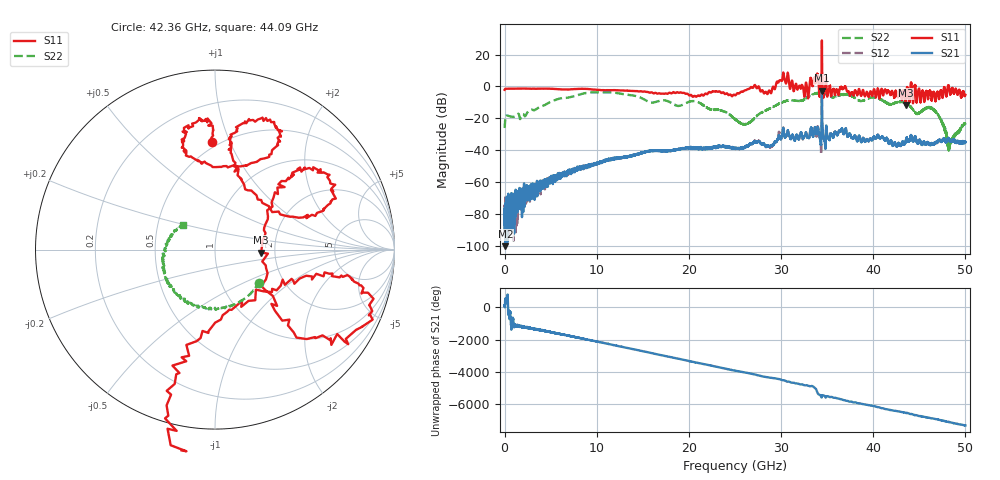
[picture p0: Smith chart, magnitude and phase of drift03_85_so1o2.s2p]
!Created with skrf (http://scikit-rf.org).
# Hz S RI R 50.0
!freq ReS11 ImS11 ReS21 ImS21 ReS12 ImS12 ReS22 ImS22
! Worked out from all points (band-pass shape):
!   10000 points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, 5.3 MHz to 50 GHz, reference 50 ohm
!   highest |S21| = -2.63 dB at 34.43 GHz (marker M1); lowest = -100.0 dB at 100.3 MHz (marker M2)
!   |S21| within 3 dB of the highest: 34.42756 GHz to 34.43477 GHz (7.208 MHz wide, 0.0209 % of centre)
!   lowest |S11| = -11.8 dB at 43.52 GHz (marker M3), VSWR 1.69, Z = 84.6 - j2.95 ohm
!   |S11| at or under -10 dB: 43.48442 GHz to 43.54374 GHz (59.32 MHz wide, 0.136 % of centre); 44.31137 GHz to 44.31991 GHz (8.536 MHz wide, 0.0193 % of centre); 44.70859 GHz to 44.71224 GHz (3.654 MHz wide, 0.00817 % of centre) (the widest 3 of 4)
!   |S22| runs from -40.7 to -3.6 dB; largest |S21 - S12| = 0.22
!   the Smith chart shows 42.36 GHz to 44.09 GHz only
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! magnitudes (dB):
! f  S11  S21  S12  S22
! 5.3 MHz  -2.1  -80.8  -75.8  -26.0
! 100.3 MHz  -1.5  -100.0  -81.3  -18.9
! 2.995 GHz  -1.4  -63.8  -64.4  -14.5
! 8.34 GHz  -1.5  -50.8  -50.7  -4.7
! 16.67 GHz  -4.4  -40.4  -40.3  -9.2
! 20.75 GHz  -6.3  -38.5  -38.8  -9.4
! 25.01 GHz  -5.5  -38.8  -38.7  -20.5
! 26.27 GHz  -2.1  -36.9  -37.3  -23.3
! 28.72 GHz  -2.5  -37.6  -37.4  -14.0
! 30.14 GHz  4.4  -29.4  -29.7  -9.9
! 32.74 GHz  2.0  -29.4  -29.1  -7.3
! 33.34 GHz  2.6  -27.4  -27.7  -5.2
! 33.82 GHz  4.0  -29.1  -29.5  -4.3
! 34.43 GHz  28.8  -2.6  -4.6  -3.9
! 36.48 GHz  -0.6  -28.1  -28.0  -5.3
! 41.67 GHz  -2.9  -35.4  -35.7  -10.9
! 43.52 GHz  -11.8  -34.2  -34.5  -10.1
! 44.74 GHz  -9.3  -34.6  -34.7  -17.2
! 46.64 GHz  -4.5  -35.6  -35.5  -15.1
! 47.5 GHz  -6.8  -33.8  -33.4  -23.1
! 48.28 GHz  -2.8  -33.7  -33.1  -39.1
! 50 GHz  -5.2  -34.7  -34.7  -23.2
